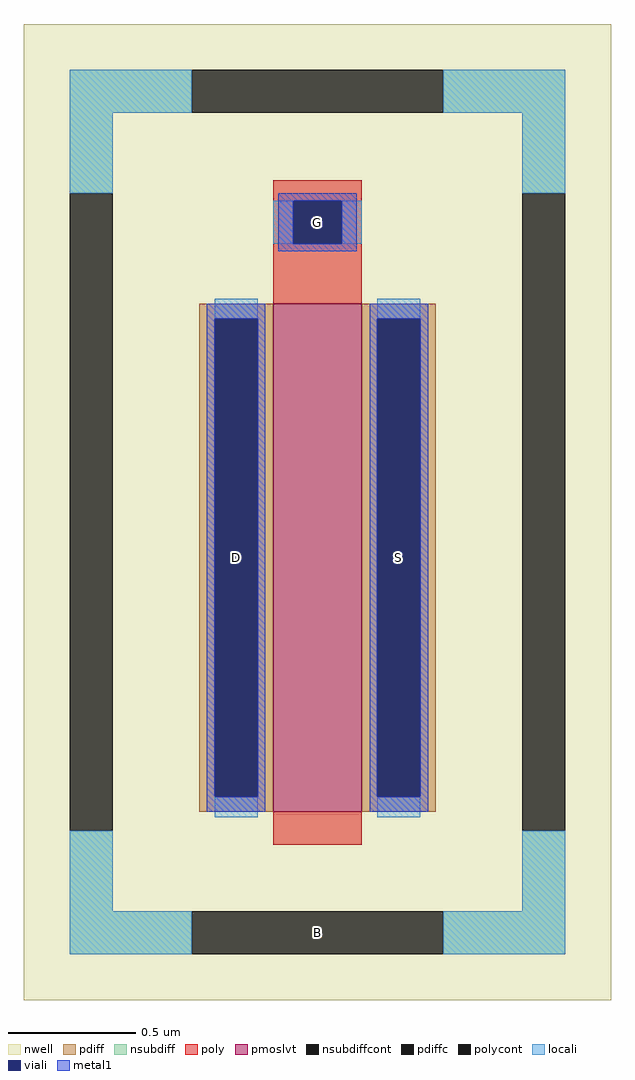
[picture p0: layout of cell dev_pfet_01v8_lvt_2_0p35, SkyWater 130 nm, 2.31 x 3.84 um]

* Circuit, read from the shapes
.subckt dev_pfet_01v8_lvt_2_0p35 B D S G
XM1 S G D B sky130_fd_pr__pfet_01v8_lvt w=2 l=0.35
.ends

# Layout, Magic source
magic
tech sky130A
magscale 1 2
<< nwell >>
rect -231 -384 231 384
<< pmoslvt >>
rect -35 -236 35 164
<< pdiff >>
rect -93 152 -35 164
rect -93 -224 -81 152
rect -47 -224 -35 152
rect -93 -236 -35 -224
rect 35 152 93 164
rect 35 -224 47 152
rect 81 -224 93 152
rect 35 -236 93 -224
<< pdiffc >>
rect -81 -224 -47 152
rect 47 -224 81 152
<< nsubdiff >>
rect -195 314 -99 348
rect 99 314 195 348
rect -195 251 -161 314
rect 161 251 195 314
rect -195 -314 -161 -251
rect 161 -314 195 -251
rect -195 -348 -99 -314
rect 99 -348 195 -314
<< nsubdiffcont >>
rect -99 314 99 348
rect -195 -251 -161 251
rect 161 -251 195 251
rect -99 -348 99 -314
<< poly >>
rect -35 245 35 261
rect -35 211 -19 245
rect 19 211 35 245
rect -35 164 35 211
rect -35 -262 35 -236
<< polycont >>
rect -19 211 19 245
<< locali >>
rect -195 314 -99 348
rect 99 314 195 348
rect -195 251 -161 314
rect 161 251 195 314
rect -35 211 -19 245
rect 19 211 35 245
rect -81 152 -47 168
rect -81 -240 -47 -224
rect 47 152 81 168
rect 47 -240 81 -224
rect -195 -314 -161 -251
rect 161 -314 195 -251
rect -195 -348 -99 -314
rect 99 -348 195 -314
<< viali >>
rect -19 211 19 245
rect -81 -224 -47 152
rect 47 -224 81 152
<< metal1 >>
rect -31 245 31 251
rect -31 211 -19 245
rect 19 211 31 245
rect -31 205 31 211
rect -87 152 -41 164
rect -87 -224 -81 152
rect -47 -224 -41 152
rect -87 -236 -41 -224
rect 41 152 87 164
rect 41 -224 47 152
rect 81 -224 87 152
rect 41 -236 87 -224
<< labels >>
rlabel nsubdiffcont 0 -331 0 -331 0 B
port 1 nsew
rlabel pdiffc -64 -36 -64 -36 0 D
port 2 nsew
rlabel pdiffc 64 -36 64 -36 0 S
port 3 nsew
rlabel polycont 0 228 0 228 0 G
port 4 nsew
<< properties >>
string FIXED_BBOX -178 -331 178 331
<< end >>
